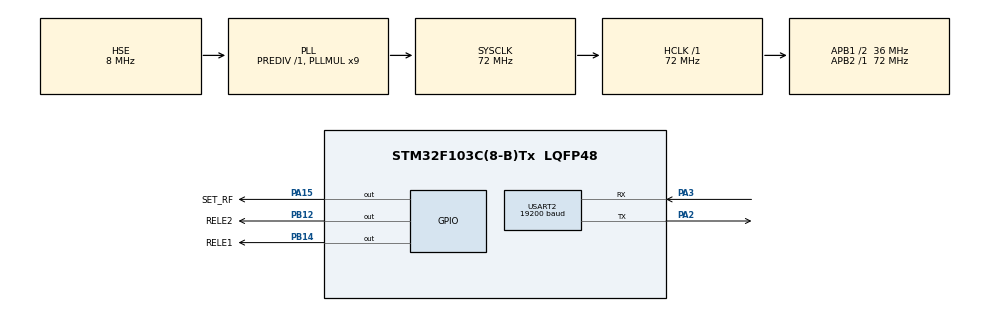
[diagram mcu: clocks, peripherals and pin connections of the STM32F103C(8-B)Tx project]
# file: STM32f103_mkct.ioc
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Mcu.Family=STM32F1
Mcu.Name=STM32F103C(8-B)Tx
Mcu.Package=LQFP48
NVIC.PriorityGroup=NVIC_PRIORITYGROUP_4
NVIC.TIM1_UP_IRQn=true\:0\:0\:false\:false\:true\:true\:true
NVIC.TIM3_IRQn=true\:0\:0\:false\:false\:true\:true\:true
NVIC.USART2_IRQn=true\:0\:0\:false\:false\:true\:true\:true
PA13.Mode=Serial_Wire
PA13.Signal=SYS_JTMS-SWDIO
PA14.Mode=Serial_Wire
PA14.Signal=SYS_JTCK-SWCLK
PA15.GPIO_Label=SET_RF
PA15.PinState=GPIO_PIN_SET
PA15.Signal=GPIO_Output
PA2.Mode=Asynchronous
PA2.Signal=USART2_TX
PA3.Mode=Asynchronous
PA3.Signal=USART2_RX
PB12.GPIO_Label=RELE2
PB12.Signal=GPIO_Output
PB14.GPIO_Label=RELE1
PB14.Signal=GPIO_Output
PD0-OSC_IN.Mode=HSE-External-Oscillator
PD0-OSC_IN.Signal=RCC_OSC_IN
PD1-OSC_OUT.Mode=HSE-External-Oscillator
PD1-OSC_OUT.Signal=RCC_OSC_OUT
ProjectManager.HeapSize=0x200
ProjectManager.StackSize=0x400
ProjectManager.TargetToolchain=MDK-ARM V5.32
RCC.ADCPresc=RCC_ADCPCLK2_DIV6
RCC.AHBFreq_Value=72000000
RCC.APB1CLKDivider=RCC_HCLK_DIV2
RCC.APB1Freq_Value=36000000
RCC.APB1TimFreq_Value=72000000
RCC.APB2Freq_Value=72000000
RCC.APB2TimFreq_Value=72000000
RCC.HCLKFreq_Value=72000000
RCC.PLLMUL=RCC_PLL_MUL9
RCC.PLLSourceVirtual=RCC_PLLSOURCE_HSE
RCC.SYSCLKFreq_VALUE=72000000
RCC.SYSCLKSource=RCC_SYSCLKSOURCE_PLLCLK
RCC.USBFreq_Value=72000000
TIM3.Period=4090
USART2.BaudRate=19200
USART2.VirtualMode=VM_ASYNC
VP_TIM1_VS_ClockSourceINT.Mode=Internal
VP_TIM3_VS_ClockSourceINT.Mode=Internal
board=custom

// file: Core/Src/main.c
/* USER CODE BEGIN Header */
/**
  ******************************************************************************
  * @file           : main.c
  * @brief          : Main program body
  ******************************************************************************
  * @attention
  *
  * <h2><center>&copy; Copyright (c) 2021 STMicroelectronics.
  * All rights reserved.</center></h2>
  *
  * This software component is licensed by ST under BSD 3-Clause license,
  * the "License"; You may not use this file except in compliance with the
  * License. You may obtain a copy of the License at:
  *                        opensource.org/licenses/BSD-3-Clause
  *
  ******************************************************************************
  */
/* USER CODE END Header */
#include "main.h"
#include "tim.h"
#include "usart.h"
#include "gpio.h"

/* USER CODE BEGIN Includes */
#include "setup.h"
#include "control.h"

/* USER CODE END Includes */

void SystemClock_Config(void);

int main(void)
{

  /* MCU Configuration--------------------------------------------------------*/

  /* Reset of all peripherals, Initializes the Flash interface and the Systick. */
  HAL_Init();

  /* USER CODE BEGIN Init */
    SETUP_Load();

  /* USER CODE END Init */

  /* Configure the system clock */
  SystemClock_Config();

  /* Initialize all configured peripherals */
  MX_GPIO_Init();
  MX_TIM1_Init();
  MX_TIM3_Init();
  MX_USART2_UART_Init();
  /* USER CODE BEGIN 2 */

//    LL_USART_EnableIT_RXNE(USART1);
//    LL_USART_EnableIT_ERROR(USART1);
    LL_USART_EnableIT_RXNE(USART2);
    LL_USART_EnableIT_ERROR(USART2);

    HAL_TIM_Base_Start_IT(&htim1);
    HAL_TIM_Base_Start_IT(&htim3);

    HAL_Delay(500);

    dev_var.start[0] = 0;
    dev_var.start[1] = 0;
    dev_var.status = 0;
    dev_var.pulse_1 = 0;
    dev_var.pulse_2 = 0;

    port_init();
    RELE1_set(0);
    RELE2_set(0);

  /* USER CODE END 2 */

  /* Infinite loop */
  /* USER CODE BEGIN WHILE */
  while (1)
  {
      USART2_Proc();
      SYSTEM_Proc();
      CONTROL_Proc();
    /* USER CODE END WHILE */

  }
}

void SystemClock_Config(void)
{
  RCC_OscInitTypeDef RCC_OscInitStruct = {0};
  RCC_ClkInitTypeDef RCC_ClkInitStruct = {0};

  /** Initializes the RCC Oscillators according to the specified parameters
  * in the RCC_OscInitTypeDef structure.
  */
  RCC_OscInitStruct.OscillatorType = RCC_OSCILLATORTYPE_HSE;
  RCC_OscInitStruct.HSEState = RCC_HSE_ON;
  RCC_OscInitStruct.HSEPredivValue = RCC_HSE_PREDIV_DIV1;
  RCC_OscInitStruct.HSIState = RCC_HSI_ON;
  RCC_OscInitStruct.PLL.PLLState = RCC_PLL_ON;
  RCC_OscInitStruct.PLL.PLLSource = RCC_PLLSOURCE_HSE;
  RCC_OscInitStruct.PLL.PLLMUL = RCC_PLL_MUL9;
  if (HAL_RCC_OscConfig(&RCC_OscInitStruct) != HAL_OK)
  {
    Error_Handler();
  }
  /** Initializes the CPU, AHB and APB buses clocks
  */
  RCC_ClkInitStruct.ClockType = RCC_CLOCKTYPE_HCLK|RCC_CLOCKTYPE_SYSCLK
                              |RCC_CLOCKTYPE_PCLK1|RCC_CLOCKTYPE_PCLK2;
  RCC_ClkInitStruct.SYSCLKSource = RCC_SYSCLKSOURCE_PLLCLK;
  RCC_ClkInitStruct.AHBCLKDivider = RCC_SYSCLK_DIV1;
  RCC_ClkInitStruct.APB1CLKDivider = RCC_HCLK_DIV2;
  RCC_ClkInitStruct.APB2CLKDivider = RCC_HCLK_DIV1;

  if (HAL_RCC_ClockConfig(&RCC_ClkInitStruct, FLASH_LATENCY_2) != HAL_OK)
  {
    Error_Handler();
  }
}

void Error_Handler(void)
{
  __disable_irq();
  while (1)
  {
  }
}

/************************ (C) COPYRIGHT STMicroelectronics *****END OF FILE****/
